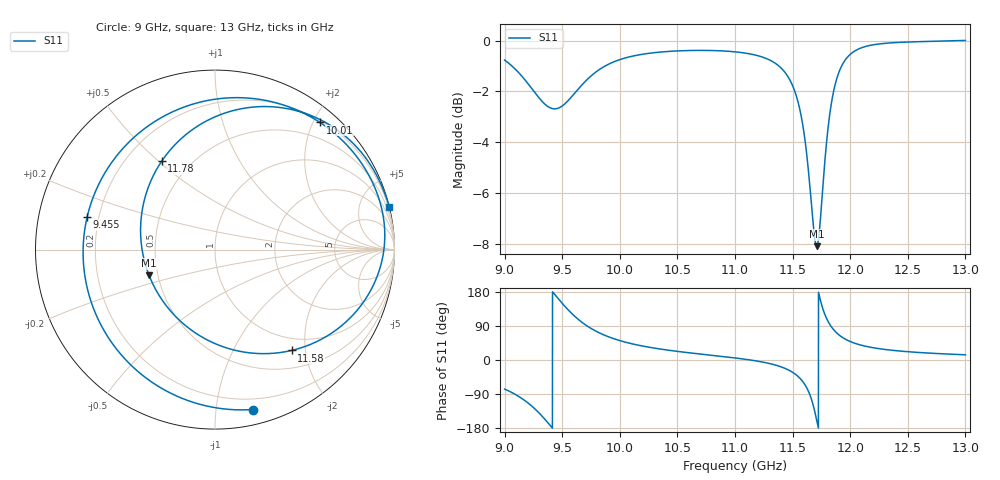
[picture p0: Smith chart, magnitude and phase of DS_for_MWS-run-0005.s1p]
! TOUCHSTONE file generated by CST DESIGN STUDIO
! Date and time: Tue Feb  4 15:38:49 2025
! Project name: C:\Work\MatlabApps\UnitCellOptimizationMatlab\CST\unitcell.cst
! Tree item: Tasks\Sweep1\SPara1\S-Parameters
! Header version: 2024
! Port assignment regex: !\s*Touchstone port\s*([0-9]+)\s*=\s*(CST MWS port|CST DES external port|CST DES block port)\s*(.+)\s* \(\"(.*)\"\)(\s*mode\s*([0-9]+))?.*
! Touchstone port assignment:
! Touchstone port 1 = CST DES external port 1 ("")
# GHz S MA R 50
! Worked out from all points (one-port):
!   4001 points, 9 GHz to 13 GHz, reference 50 ohm
!   lowest |S11| = -8.1 dB at 11.71 GHz (marker M1), VSWR 2.30, Z = 22.3 - j7.6 ohm
!   |S11| at or under -10 dB: nowhere
!   S11 on the Smith chart (normalised r, x): 9 GHz: 0.11, -1.26; 9.455 GHz: 0.15, +0.12; 10.01 GHz: 0.23, +2.10; 11.58 GHz: 0.78, -1.75; 11.78 GHz: 0.35, +0.51; 13 GHz: -0.01, +8.31
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9  0.9155 -76.7
9.129  0.8615 -97.4
9.233  0.8064 -120.8
9.356  0.7477 -158.5
9.455  0.7352 165.7
9.5  0.7438 149.6
9.596  0.7821 118.9
9.695  0.8289 94.3
9.842  0.8829 68.8
10  0.9174 51.2
10.008  0.9186 50.5
10.218  0.9415 35.7
10.5  0.9541 22.7
11  0.9502 5.4
11.327  0.909 -11.4
11.5  0.8154 -32.5
11.577  0.7059 -52.7
11.649  0.5201 -90.9
11.709  0.3944 -158.7
11.743  0.45 155.8
11.779  0.5755 121.0
11.817  0.7011 96.9
11.859  0.8009 79.0
11.925  0.8906 61.1
12  0.9393 48.8
12.183  0.9794 33.3
12.5  0.9933 21.9
13  1 13.7
